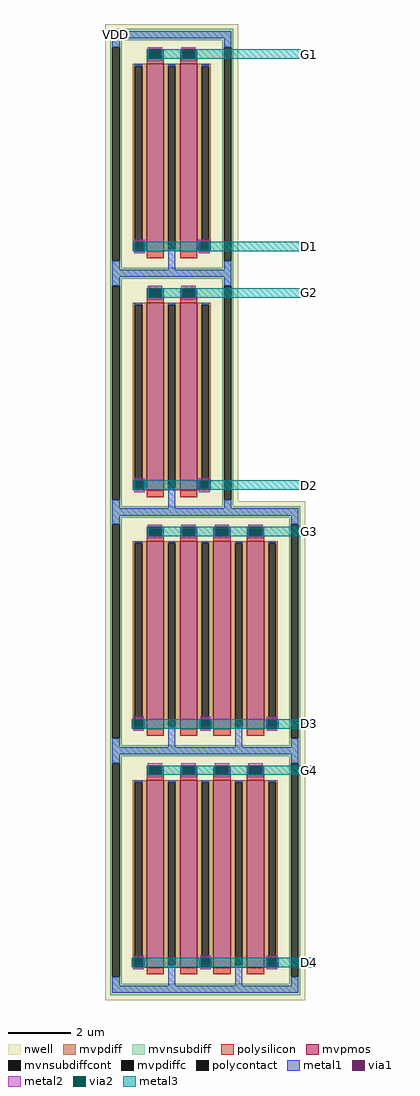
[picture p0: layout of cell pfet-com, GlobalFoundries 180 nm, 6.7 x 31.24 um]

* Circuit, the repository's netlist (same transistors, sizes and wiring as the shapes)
** sch_path: /foss/designs/sscs-chipathon2025-LNA/designs/libs/core_single-fet/pfet-com/pfet-com.sch
.subckt pfet-com VDD D1 G1 D2 G2 D3 G3 D4 G4
*.PININFO VDD:B D1:B G1:B D2:B G2:B D3:B G3:B G4:B D4:B
M9 D1 G1 VDD VDD pfet_06v0 L=0.55u W=6.0u nf=1 m=2
M10 D2 G2 VDD VDD pfet_06v0 L=0.55u W=6.0u nf=1 m=2
M11 D3 G3 VDD VDD pfet_06v0 L=0.55u W=6.0u nf=1 m=4
M12 D4 G4 VDD VDD pfet_06v0 L=0.55u W=6.0u nf=1 m=4
.ends

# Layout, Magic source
magic
tech gf180mcuD
magscale 1 10
<< metal1 >>
rect -535 -1167 -489 -1121
rect -315 -1299 -303 -1239
rect -219 -1299 -207 -1239
rect -101 -1299 -89 -1239
rect -5 -1299 7 -1239
rect -403 -2530 -391 -2470
rect -331 -2530 -319 -2470
rect 11 -2530 23 -2470
rect 83 -2530 95 -2470
rect -177 -2650 -131 -2530
rect -315 -2827 -303 -2767
rect -219 -2827 -207 -2767
rect -101 -2827 -89 -2767
rect -5 -2827 7 -2767
rect -403 -4058 -391 -3998
rect -331 -4058 -319 -3998
rect 11 -4058 23 -3998
rect 83 -4058 95 -3998
rect -177 -4177 -131 -4058
rect -315 -4355 -303 -4295
rect -219 -4355 -207 -4295
rect -101 -4355 -89 -4295
rect -5 -4355 7 -4295
rect 113 -4355 125 -4295
rect 209 -4355 221 -4295
rect 327 -4355 339 -4295
rect 423 -4355 435 -4295
rect -410 -5586 -398 -5526
rect -338 -5586 -326 -5526
rect 18 -5586 30 -5526
rect 90 -5586 102 -5526
rect 446 -5586 458 -5526
rect 518 -5586 530 -5526
rect -177 -5705 -131 -5586
rect 251 -5705 297 -5586
rect -315 -5883 -303 -5823
rect -219 -5883 -207 -5823
rect -101 -5883 -89 -5823
rect -5 -5883 7 -5823
rect 113 -5883 125 -5823
rect 209 -5883 221 -5823
rect 327 -5883 339 -5823
rect 423 -5883 435 -5823
rect -410 -7114 -398 -7054
rect -338 -7114 -326 -7054
rect 18 -7114 30 -7054
rect 90 -7114 102 -7054
rect 446 -7114 458 -7054
rect 518 -7114 530 -7054
rect -177 -7233 -131 -7114
rect 251 -7233 297 -7114
<< via1 >>
rect -303 -1299 -219 -1239
rect -89 -1299 -5 -1239
rect -391 -2530 -331 -2470
rect 23 -2530 83 -2470
rect -303 -2827 -219 -2767
rect -89 -2827 -5 -2767
rect -391 -4058 -331 -3998
rect 23 -4058 83 -3998
rect -303 -4355 -219 -4295
rect -89 -4355 -5 -4295
rect 125 -4355 209 -4295
rect 339 -4355 423 -4295
rect -398 -5586 -338 -5526
rect 30 -5586 90 -5526
rect 458 -5586 518 -5526
rect -303 -5883 -219 -5823
rect -89 -5883 -5 -5823
rect 125 -5883 209 -5823
rect 339 -5883 423 -5823
rect -398 -7114 -338 -7054
rect 30 -7114 90 -7054
rect 458 -7114 518 -7054
<< metal2 >>
rect -307 -1239 -215 -1225
rect -307 -1299 -303 -1239
rect -219 -1299 -215 -1239
rect -307 -1313 -215 -1299
rect -93 -1239 -1 -1225
rect -93 -1299 -89 -1239
rect -5 -1299 -1 -1239
rect -93 -1313 -1 -1299
rect -395 -2470 -327 -2456
rect -395 -2530 -391 -2470
rect -331 -2530 -327 -2470
rect -395 -2544 -327 -2530
rect 19 -2470 87 -2456
rect 19 -2530 23 -2470
rect 83 -2530 87 -2470
rect 19 -2544 87 -2530
rect -307 -2767 -215 -2753
rect -307 -2827 -303 -2767
rect -219 -2827 -215 -2767
rect -307 -2841 -215 -2827
rect -93 -2767 -1 -2753
rect -93 -2827 -89 -2767
rect -5 -2827 -1 -2767
rect -93 -2841 -1 -2827
rect -395 -3998 -327 -3984
rect -395 -4058 -391 -3998
rect -331 -4058 -327 -3998
rect -395 -4072 -327 -4058
rect 19 -3998 87 -3984
rect 19 -4058 23 -3998
rect 83 -4058 87 -3998
rect 19 -4072 87 -4058
rect -307 -4295 -215 -4281
rect -307 -4355 -303 -4295
rect -219 -4355 -215 -4295
rect -307 -4369 -215 -4355
rect -93 -4295 -1 -4281
rect -93 -4355 -89 -4295
rect -5 -4355 -1 -4295
rect -93 -4369 -1 -4355
rect 121 -4295 213 -4281
rect 121 -4355 125 -4295
rect 209 -4355 213 -4295
rect 121 -4369 213 -4355
rect 335 -4295 427 -4281
rect 335 -4355 339 -4295
rect 423 -4355 427 -4295
rect 335 -4369 427 -4355
rect -402 -5526 -334 -5512
rect -402 -5586 -398 -5526
rect -338 -5586 -334 -5526
rect -402 -5600 -334 -5586
rect 26 -5526 94 -5512
rect 26 -5586 30 -5526
rect 90 -5586 94 -5526
rect 26 -5600 94 -5586
rect 454 -5526 522 -5512
rect 454 -5586 458 -5526
rect 518 -5586 522 -5526
rect 454 -5600 522 -5586
rect -307 -5823 -215 -5809
rect -307 -5883 -303 -5823
rect -219 -5883 -215 -5823
rect -307 -5897 -215 -5883
rect -93 -5823 -1 -5809
rect -93 -5883 -89 -5823
rect -5 -5883 -1 -5823
rect -93 -5897 -1 -5883
rect 121 -5823 213 -5809
rect 121 -5883 125 -5823
rect 209 -5883 213 -5823
rect 121 -5897 213 -5883
rect 335 -5823 427 -5809
rect 335 -5883 339 -5823
rect 423 -5883 427 -5823
rect 335 -5897 427 -5883
rect -402 -7054 -334 -7040
rect -402 -7114 -398 -7054
rect -338 -7114 -334 -7054
rect -402 -7128 -334 -7114
rect 26 -7054 94 -7040
rect 26 -7114 30 -7054
rect 90 -7114 94 -7054
rect 26 -7128 94 -7114
rect 454 -7054 522 -7040
rect 454 -7114 458 -7054
rect 518 -7114 522 -7054
rect 454 -7128 522 -7114
<< via2 >>
rect -303 -1299 -219 -1239
rect -89 -1299 -5 -1239
rect -391 -2530 -331 -2470
rect 23 -2530 83 -2470
rect -303 -2827 -219 -2767
rect -89 -2827 -5 -2767
rect -391 -4058 -331 -3998
rect 23 -4058 83 -3998
rect -303 -4355 -219 -4295
rect -89 -4355 -5 -4295
rect 125 -4355 209 -4295
rect 339 -4355 423 -4295
rect -398 -5586 -338 -5526
rect 30 -5586 90 -5526
rect 458 -5586 518 -5526
rect -303 -5883 -219 -5823
rect -89 -5883 -5 -5823
rect 125 -5883 209 -5823
rect 339 -5883 423 -5823
rect -398 -7114 -338 -7054
rect 30 -7114 90 -7054
rect 458 -7114 518 -7054
<< metal3 >>
rect -313 -1299 -303 -1239
rect -219 -1299 -89 -1239
rect -5 -1299 760 -1239
rect -401 -2530 -391 -2470
rect -331 -2530 23 -2470
rect 83 -2530 760 -2470
rect -313 -2827 -303 -2767
rect -219 -2827 -89 -2767
rect -5 -2827 760 -2767
rect -401 -4058 -391 -3998
rect -331 -4058 23 -3998
rect 83 -4058 760 -3998
rect -313 -4355 -303 -4295
rect -219 -4355 -89 -4295
rect -5 -4355 125 -4295
rect 209 -4355 339 -4295
rect 423 -4355 760 -4295
rect -408 -5586 -398 -5526
rect -338 -5586 30 -5526
rect 90 -5586 458 -5526
rect 518 -5586 760 -5526
rect -313 -5883 -303 -5823
rect -219 -5883 -89 -5823
rect -5 -5883 125 -5823
rect 209 -5883 339 -5823
rect 423 -5883 760 -5823
rect -408 -7114 -398 -7054
rect -338 -7114 30 -7054
rect 90 -7114 458 -7054
rect 518 -7114 760 -7054
use pfet_06v0_R6Z25Q  M9
transform 1 0 -154 0 1 -1908
box -426 -832 426 832
use pfet_06v0_ZXY25Q  M11 pfet-vdd
transform 1 0 60 0 1 -4964
box -640 -832 640 832
use pfet_06v0_R6Z25Q  pfet_06v0_R6Z25Q_0
transform 1 0 -154 0 1 -3436
box -426 -832 426 832
use pfet_06v0_ZXY25Q  pfet_06v0_ZXY25Q_0
transform 1 0 60 0 1 -6492
box -640 -832 640 832
<< labels >>
flabel metal1 -535 -1167 -489 -1121 0 FreeSans 320 0 0 0 VDD
port 0 nsew
flabel metal3 700 -1299 760 -1239 0 FreeSans 320 0 0 0 G1
port 1 nsew
flabel metal3 700 -2530 760 -2470 0 FreeSans 320 0 0 0 D1
port 2 nsew
flabel metal3 700 -2827 760 -2767 0 FreeSans 320 0 0 0 G2
port 3 nsew
flabel metal3 700 -4058 760 -3998 0 FreeSans 320 0 0 0 D2
port 4 nsew
flabel metal3 700 -4355 760 -4295 0 FreeSans 320 0 0 0 G3
port 5 nsew
flabel metal3 700 -5586 760 -5526 0 FreeSans 320 0 0 0 D3
port 6 nsew
flabel metal3 700 -5883 760 -5823 0 FreeSans 320 0 0 0 G4
port 7 nsew
flabel metal3 700 -7114 760 -7054 0 FreeSans 320 0 0 0 D4
port 9 nsew
<< end >>

# cell pfet_06v0_R6Z25Q: kit device pfet_06v0, w 6.0 l 0.55 m 1 nf 2 diffcov 100 polycov 100 guard 1 glc 1 grc 1 gtc 0 gbc 0 tbcov 100 rlcov 100 topc 1 botc 0 poverlap 0 doverlap 1 lmin 0.5 wmin 0.3 class mosfet full_metal 1 compatible {pfet_03v3 pfet_06v0}

# cell pfet_06v0_ZXY25Q: kit device pfet_06v0, w 6.0 l 0.55 m 1 nf 4 diffcov 100 polycov 100 guard 1 glc 1 grc 1 gtc 0 gbc 0 tbcov 100 rlcov 100 topc 1 botc 0 poverlap 0 doverlap 1 lmin 0.5 wmin 0.3 class mosfet full_metal 1 compatible {pfet_03v3 pfet_06v0}
